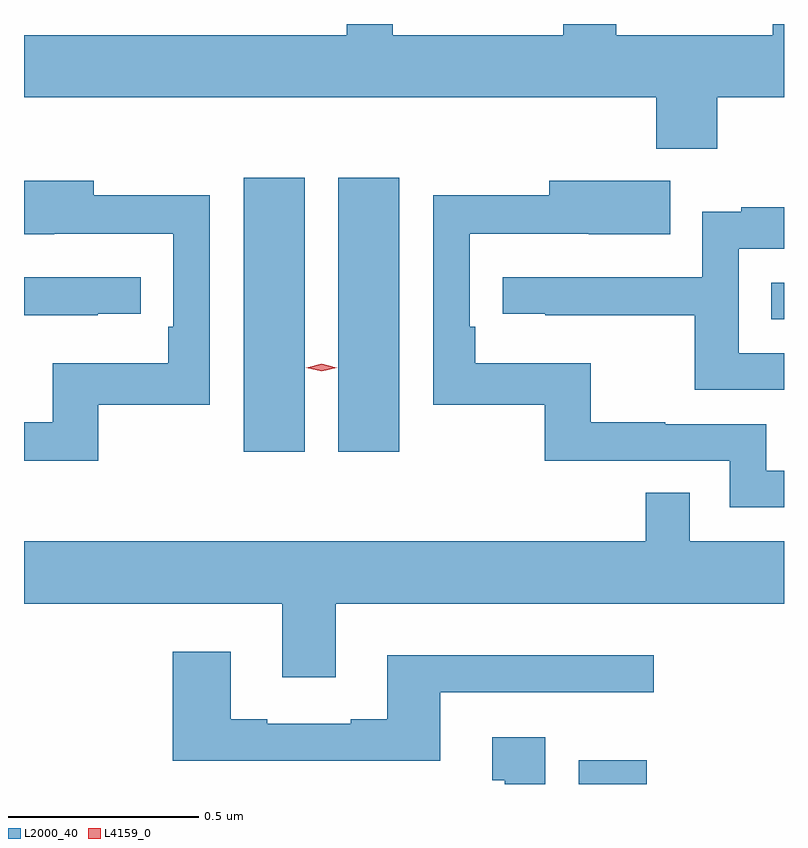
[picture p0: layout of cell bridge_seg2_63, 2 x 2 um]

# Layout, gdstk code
import gdstk
lib = gdstk.Library(unit=1e-6, precision=1e-09)
def R(c, l, rs):  # rectangles x0, y0, x1, y1
    for r in rs: c.add(gdstk.rectangle(r[:2], r[2:], *l))
def P(c, l, *ps):  # polygons
    for p in ps: c.add(gdstk.Polygon(p, *l))
L2000_40 = (2000, 40)
L4159_0 = (4159, 0)

bridge_seg2_63 = lib.new_cell('bridge_seg2_63')
R(bridge_seg2_63, L2000_40, [(941.435,607.201,941.614,607.264), (940.553,608.076,940.714,608.797), (940.802,608.076,940.963,608.797), (941.941,608.424,941.975,608.52)])
P(bridge_seg2_63, L2000_40, [(941.799,609.008),(941.975,609.008),(941.975,609.201),(941.945,609.201),(941.945,609.172),(941.533,609.172),(941.533,609.201),(941.394,609.201),(941.394,609.172),(940.945,609.172),(940.945,609.201),(940.824,609.201),(940.824,609.172),(939.975,609.172),(939.975,609.008),(941.639,609.008),(941.639,608.873),(941.799,608.873)],
  [(940.171,608.199),(940.464,608.199),(940.464,608.75),(940.159,608.75),(940.159,608.788),(939.975,608.788),(939.975,608.648),(940.055,608.648),(940.055,608.649),(940.368,608.649),(940.368,608.404),(940.355,608.404),(940.355,608.308),(940.05,608.308),(940.05,608.153),(939.975,608.153),(939.975,608.052),(940.171,608.052)],
  [(941.975,608.025),(941.928,608.025),(941.928,608.148),(941.663,608.148),(941.663,608.153),(941.467,608.153),(941.467,608.308),(941.162,608.308),(941.162,608.404),(941.148,608.404),(941.148,608.649),(941.461,608.649),(941.461,608.648),(941.675,608.648),(941.675,608.788),(941.357,608.788),(941.357,608.75),(941.052,608.75),(941.052,608.199),(941.346,608.199),(941.346,608.052),(941.832,608.052),(941.832,607.929),(941.975,607.929)],
  [(941.975,608.334),(941.856,608.334),(941.856,608.61),(941.975,608.61),(941.975,608.719),(941.863,608.719),(941.863,608.707),(941.76,608.707),(941.76,608.535),(941.235,608.535),(941.235,608.439),(941.347,608.439),(941.347,608.434),(941.74,608.434),(941.74,608.238),(941.975,608.238)],
  [(940.169,608.439),(940.282,608.439),(940.282,608.535),(939.975,608.535),(939.975,608.434),(940.169,608.434)],
  [(940.795,607.676),(941.975,607.676),(941.975,607.84),(941.727,607.84),(941.727,607.967),(941.611,607.967),(941.611,607.84),(939.975,607.84),(939.975,607.676),(940.655,607.676),(940.655,607.482),(940.795,607.482)],
  [(941.071,607.443),(941.632,607.443),(941.632,607.54),(940.931,607.54),(940.931,607.372),(940.835,607.372),(940.835,607.359),(940.615,607.359),(940.615,607.372),(940.519,607.372),(940.519,607.549),(940.367,607.549),(940.367,607.262),(941.071,607.262)],
  [(941.347,607.324),(941.207,607.324),(941.207,607.211),(941.24,607.211),(941.24,607.201),(941.347,607.201)])
P(bridge_seg2_63, L4159_0, [(940.758,608.287),(940.718,608.297),(940.718,608.297),(940.718,608.297),(940.758,608.307),(940.798,608.297),(940.798,608.296),(940.798,608.296)])

lib.write_gds('bridge_seg2_63.gds')
